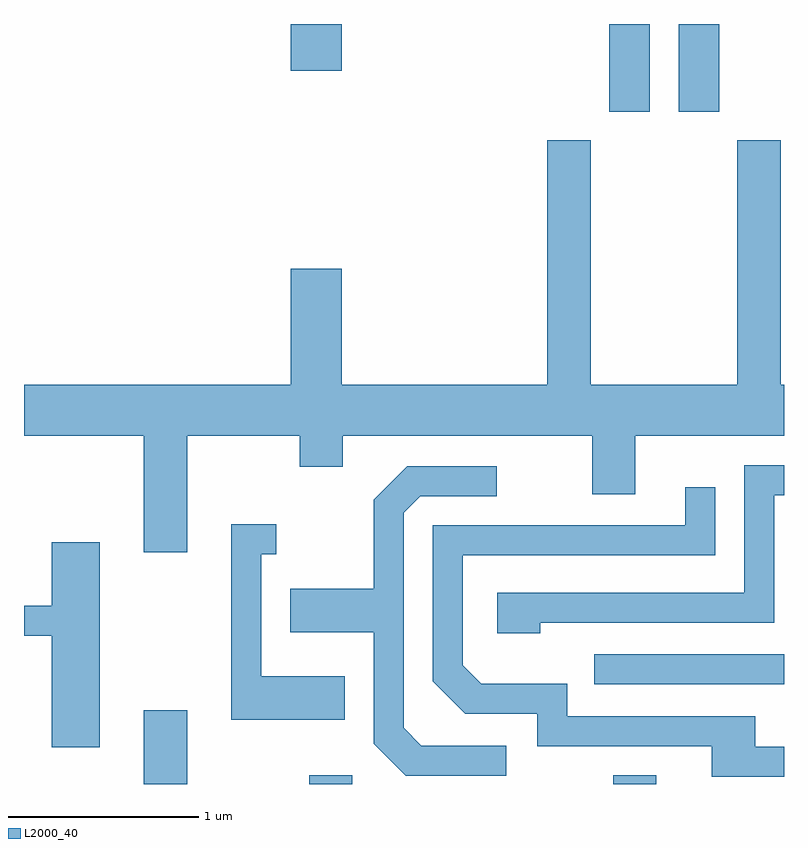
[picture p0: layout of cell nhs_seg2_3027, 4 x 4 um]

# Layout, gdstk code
import gdstk
lib = gdstk.Library(unit=1e-6, precision=1e-09)
def R(c, l, rs):  # rectangles x0, y0, x1, y1
    for r in rs: c.add(gdstk.rectangle(r[:2], r[2:], *l))
def P(c, l, *ps):  # polygons
    for p in ps: c.add(gdstk.Polygon(p, *l))
L2000_40 = (2000, 40)

nhs_seg2_3027 = lib.new_cell('nhs_seg2_3027')
R(nhs_seg2_3027, L2000_40, [(274.241,1059.802,274.469,1060.189), (275.111,1059.802,275.339,1059.849), (276.711,1059.802,276.939,1059.849), (276.613,1060.326,277.611,1060.484), (276.691,1063.341,276.904,1063.802), (277.056,1063.341,277.269,1063.802), (275.016,1063.556,275.284,1063.802)])
P(nhs_seg2_3027, L2000_40, [(274.469,1061.636),(275.061,1061.636),(275.061,1061.471),(275.289,1061.471),(275.289,1061.636),(276.601,1061.636),(276.601,1061.326),(276.829,1061.326),(276.829,1061.636),(277.611,1061.636),(277.611,1061.904),(277.594,1061.904),(277.594,1063.189),(277.366,1063.189),(277.366,1061.904),(276.594,1061.904),(276.594,1063.189),(276.366,1063.189),(276.366,1061.904),(275.284,1061.904),(275.284,1062.514),(275.016,1062.514),(275.016,1061.904),(273.611,1061.904),(273.611,1061.636),(274.241,1061.636),(274.241,1061.021),(274.469,1061.021)],
  [(276.329,1060.651),(277.559,1060.651),(277.559,1061.321),(277.611,1061.321),(277.611,1061.479),(277.401,1061.479),(277.401,1060.809),(276.101,1060.809),(276.101,1060.596),(276.329,1060.596)],
  [(276.148,1060.004),(275.702,1060.004),(275.609,1060.097),(275.609,1061.229),(275.697,1061.316),(276.098,1061.316),(276.098,1061.474),(275.629,1061.474),(275.451,1061.297),(275.451,1060.829),(275.011,1060.829),(275.011,1060.601),(275.451,1060.601),(275.451,1060.014),(275.619,1059.846),(276.148,1059.846)],
  [(277.611,1059.999),(277.459,1059.999),(277.459,1060.159),(276.469,1060.159),(276.469,1060.329),(276.017,1060.329),(275.919,1060.427),(275.919,1061.006),(277.249,1061.006),(277.249,1061.363),(277.091,1061.363),(277.091,1061.164),(275.761,1061.164),(275.761,1060.344),(275.934,1060.171),(276.311,1060.171),(276.311,1060.001),(277.231,1060.001),(277.231,1059.841),(277.611,1059.841)],
  [(275.299,1060.369),(274.859,1060.369),(274.859,1061.011),(274.938,1061.011),(274.938,1061.169),(274.701,1061.169),(274.701,1060.141),(275.299,1060.141)],
  [(274.009,1061.074),(273.756,1061.074),(273.756,1060.739),(273.611,1060.739),(273.611,1060.581),(273.756,1060.581),(273.756,1059.996),(274.009,1059.996)])

lib.write_gds('nhs_seg2_3027.gds')
